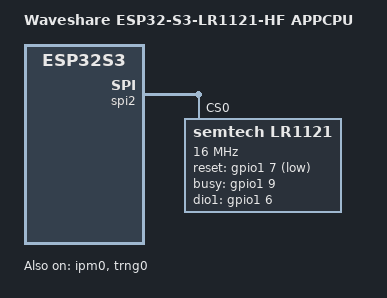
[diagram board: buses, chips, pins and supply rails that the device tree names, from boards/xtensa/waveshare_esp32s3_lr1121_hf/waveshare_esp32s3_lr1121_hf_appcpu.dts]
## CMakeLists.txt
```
cmake_minimum_required(VERSION 3.20.0)
find_package(Zephyr REQUIRED HINTS $ENV{ZEPHYR_BASE})
project(pocketadcs_ads)
target_sources(app PRIVATE src/main.cpp)
target_include_directories(app PRIVATE ${CMAKE_CURRENT_SOURCE_DIR}/../src)

# Identity of the complete application inputs (not a timestamp or git HEAD:
# uncommitted shared headers must change it too). Paths and digests are sorted
# and concatenated; build_manifest records the same inputs and final binaries.
file(GLOB_RECURSE identity_inputs CONFIGURE_DEPENDS
    RELATIVE ${CMAKE_CURRENT_SOURCE_DIR}
    "${CMAKE_CURRENT_SOURCE_DIR}/*"
    "${CMAKE_CURRENT_SOURCE_DIR}/../src/*")
list(SORT identity_inputs)
set(identity_material "")
foreach(input IN LISTS identity_inputs)
    if(NOT IS_DIRECTORY "${CMAKE_CURRENT_SOURCE_DIR}/${input}")
        file(SHA256 "${CMAKE_CURRENT_SOURCE_DIR}/${input}" input_sha)
        string(APPEND identity_material "${input}:${input_sha}\n")
    endif()
endforeach()
string(SHA256 source_digest "${identity_material}")
file(WRITE "${CMAKE_CURRENT_BINARY_DIR}/adcs_identity_inputs.txt" "${identity_material}")
file(WRITE "${CMAKE_CURRENT_BINARY_DIR}/adcs_build_id.txt" "${source_digest}\n")
target_compile_definitions(app PRIVATE ADCS_BUILD_ID="${source_digest}")
# Target, not host, stack-usage evidence retained alongside the ELF.
target_compile_options(app PRIVATE -fstack-usage)
```

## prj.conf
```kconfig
CONFIG_CONSOLE=y
CONFIG_SERIAL=y
CONFIG_UART_CONSOLE=y
CONFIG_SERIAL_ESP32_USB=y
# Match the working AIO Zephyr console configuration. This option is not a
# proven fix for host write timeouts: the ESP32 USB-Serial/JTAG driver's RX
# implementation does not use UART line-control callbacks. Host programs
# must configure DTR/RTS before opening the port to avoid a control-line pulse.
CONFIG_UART_LINE_CTRL=y
CONFIG_UART_INTERRUPT_DRIVEN=y
CONFIG_CPP=y
CONFIG_PICOLIBC_IO_FLOAT=y
# Xtensa -Os stack-usage audit: main -> references -> igrfFieldGcrs ->
# igrfFieldItrs -> legendreSchmidt needs at least 9488 bytes, before libm
# and runtime overhead. A 4096-byte main stack corrupts memory on this path.
CONFIG_MAIN_STACK_SIZE=16384
# Detect stack damage and retain high-water accounting in non-diagnostic builds.
CONFIG_INIT_STACKS=y
CONFIG_THREAD_STACK_INFO=y
CONFIG_STACK_SENTINEL=y
CONFIG_ASSERT=y
```

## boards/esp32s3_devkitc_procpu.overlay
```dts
/ {
    aliases { uart-0 = &usb_serial; };
    chosen {
        zephyr,console = &usb_serial;
        zephyr,shell-uart = &usb_serial;
    };
};
&usb_serial { status = "okay"; };
/* Waveshare ESP32-S3-LR1121-HF has 4 MB flash, not DevKitC's 8 MB. */
&flash0 { reg = <0x0 DT_SIZE_M(4)>; };
```

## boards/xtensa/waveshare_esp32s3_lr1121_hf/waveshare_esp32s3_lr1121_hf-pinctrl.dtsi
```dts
/*
 * Copyright (c) 2026 AIO PocketQube
 * SPDX-License-Identifier: Apache-2.0
 *
 * Waveshare ESP32-S3-LR1121-HF (castellated module, 4MB flash + 2MB PSRAM).
 * Verified pin mapping (Meshtastic variant.h / working firmware):
 *   LR1121 SPI2: SCK=40, MOSI=45, MISO=46, CS=42
 *   LR1121      : IRQ(DIO1)=38, RST=39, BUSY(DIO0)=41
 *   USB         : USB-Serial/JTAG via GPIO19/20 (console)
 */

#include <zephyr/dt-bindings/pinctrl/esp-pinctrl-common.h>
#include <zephyr/dt-bindings/pinctrl/esp32s3-pinctrl.h>
#include <zephyr/dt-bindings/pinctrl/esp32s3-gpio-sigmap.h>

&pinctrl {
	spim2_default: spim2_default {
		group1 {
			pinmux = <SPIM2_MISO_GPIO46>,
				 <SPIM2_SCLK_GPIO40>;
		};

		group2 {
			pinmux = <SPIM2_MOSI_GPIO45>;
			output-low;
		};
	};
};
```

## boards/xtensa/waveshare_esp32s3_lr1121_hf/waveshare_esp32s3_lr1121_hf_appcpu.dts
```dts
/*
 * Copyright (c) 2026 AIO PocketQube
 * SPDX-License-Identifier: Apache-2.0
 *
 * APPCPU variant (core 1): the autonomous COM engine.
 * Owns SPI2 + LR1121 radio pins and the IPM slave side.
 */

/dts-v1/;

#include <espressif/esp32s3/esp32s3_wroom_n4r2.dtsi>
#include <espressif/partitions_0x0_amp.dtsi>
#include "waveshare_esp32s3_lr1121_hf-pinctrl.dtsi"

/ {
	model = "Waveshare ESP32-S3-LR1121-HF APPCPU";
	compatible = "espressif,esp32s3";

	chosen {
		zephyr,sram = &sram1;
		zephyr,flash = &flash0;
		zephyr,code-partition = &slot0_appcpu_partition;
	};
};

&gpio0 {
	status = "okay";
};

&gpio1 {
	status = "okay";
};

&spi2 {
	#address-cells = <1>;
	#size-cells = <0>;
	status = "okay";
	pinctrl-0 = <&spim2_default>;
	pinctrl-names = "default";

		/* LR1121 LoRa transceiver. CS (GPIO42) is driven in software by the
		 * Zephyr HAL shim to match the proven Arduino/RadioLib reference
		 * (SPI.begin(40,46,45,42) + per-transfer CS toggle). The SPIM CSEL
		 * hardware pinmux is intentionally NOT used.
		 *
		 * ALL four control pins are on GPIO bank 1 (pins 32-53), so they must be
		 * referenced on the &gpio1 controller with bank-RELATIVE numbers
		 * (absolute pin - 32):  GPIO38->6, GPIO39->7, GPIO41->9, GPIO42->10.
		 * Referencing them on &gpio0 is wrong: the generic GPIO API masks with
		 * BIT(pin) as a uint32_t, so pin 42 wraps to bit 10 and silently drives
		 * GPIO10 instead of GPIO42. (esp_threadbr board uses the same convention.) */
		lr1121: lr1121@0 {
			compatible = "semtech,lr1121";
			reg = <0>;
			spi-max-frequency = <DT_FREQ_M(16)>;
			cs-gpios = <&gpio1 10 GPIO_ACTIVE_LOW>;    /* GPIO42 */
			reset-gpios = <&gpio1 7 GPIO_ACTIVE_LOW>;  /* GPIO39 */
			busy-gpios = <&gpio1 9 GPIO_ACTIVE_HIGH>;  /* GPIO41 */
			dio1-gpios = <&gpio1 6 GPIO_ACTIVE_HIGH>;  /* GPIO38 */
		};
};

&ipm0 {
	status = "okay";
};

&trng0 {
	status = "okay";
};
```

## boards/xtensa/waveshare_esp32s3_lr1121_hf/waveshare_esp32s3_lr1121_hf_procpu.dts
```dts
/*
 * Copyright (c) 2026 AIO PocketQube
 * SPDX-License-Identifier: Apache-2.0
 *
 * PROCPU variant (core 0): command & data handling + user interfaces.
 * USB-Serial/JTAG console, WiFi AP, IPM master.
 */

/dts-v1/;

#include <espressif/esp32s3/esp32s3_wroom_n4r2.dtsi>
#include <espressif/partitions_0x0_amp.dtsi>
#include "waveshare_esp32s3_lr1121_hf-pinctrl.dtsi"

/ {
	model = "Waveshare ESP32-S3-LR1121-HF PROCPU";
	compatible = "espressif,esp32s3";

	aliases {
		uart-0 = &usb_serial;
	};

	chosen {
		zephyr,sram = &sram1;
		zephyr,console = &usb_serial;
		zephyr,shell-uart = &usb_serial;
		zephyr,flash = &flash0;
		zephyr,code-partition = &slot0_partition;
	};
};

&usb_serial {
	status = "okay";
};

&gpio0 {
	status = "okay";
};

&gpio1 {
	status = "okay";
};

&ipm0 {
	status = "okay";
};

&trng0 {
	status = "okay";
};

&wifi {
	status = "okay";
};

/* Second espressif,esp32-wifi instance (index 1): the AP/STA net device.
 * Required by CONFIG_ESP32_WIFI_AP_STA_MODE (selected by WIFI_USAGE_MODE_STA_AP),
 * which the ESP32 WiFi driver compiles a second NET_DEVICE_DT_INST_DEFINE(1, ...) for.
 * Mirrors samples/net/wifi/apsta_mode/socs/esp32_procpu.overlay. */
/ {
	wifi_ap: wifi_ap {
		compatible = "espressif,esp32-wifi";
		status = "okay";
	};
};
```

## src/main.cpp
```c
// PocketADCS Zephyr ESP32-S3 ADS application. USB-Serial/JTAG at 115200.
//
// Two protocols share the port. Both are answered; neither is repurposed.
//
//   Legacy, stateless (unchanged):
//     S2: seq epoch_ms gyro[3] mag[3] sun[3] pos_gcrs_m[3]
//     R:  seq angle_deg rate mag_norm sun_norm flags quaternion[4] cycles[2]
//     The attitude determination happens HERE, on the flight computer. The host
//     simulates the orbit and the sensor hardware and transmits what the
//     vehicle legitimately knows about itself; it does not transmit the
//     inertial reference vectors, because supplying those would make the host
//     the ADS.
//
//   Closed loop, stateful, version 1 (the "X" family):
//     XC  kp kd max_torque accel_cap inertia max_speed     configure
//     XL / XS / XE                                          load a plan (or a
//                                                          supplied 3D profile)
//     XS2 seq epoch_ms t_s gyro[3] mag[3] sun[3] pos[3]    one control frame
//     Y   status seq has_fix q[4] ctrl_q[4] tau[3] u[3]
//         saturated stale reject cyc[4]
//     XD / XO / XGS / XH                                    diagnostics
//     XZ                                                    clear the plan
//     See esp32/src/adcs_protocol.h and docs/esp32_closed_loop.md.
//
// WHY A SEPARATE PROTOCOL: the stateless S2/R exchange already passes a
// firmware regression suite and an operator soak on COM5. Reusing its tag for
// a stateful session would make those results describe behaviour their names do
// not imply, which is how an invalidated rig stays in the lab looking
// calibrated.
//
// WHAT THE HOST MAY NOT SEND: truth attitude, truth rate, or precomputed
// reference vectors. They have no field to travel in. Commands carry gains,
// limits and a schedule -- a plan the vehicle was told to fly, not the state it
// is in.
#include <zephyr/kernel.h>
#include <zephyr/device.h>
#include <zephyr/drivers/uart.h>
#include <zephyr/devicetree.h>
#include <zephyr/sys/printk.h>
#include <zephyr/sys/atomic.h>

#include <math.h>
#include <stdio.h>
#include <stdlib.h>
#include <string.h>
#include <errno.h>
#include "ads_estimate.h"
#include "sensor_source.h"
#include "reference_provider.h"
#include "adcs_core.h"
#include "adcs_protocol.h"
#include "command_framing.h"

#define LINE_SIZE adcs::kMaxLine
// The closed-loop reply carries four quaternions, three torques and four cycle
// counts, so it needs more room than a 192-byte sensor line.
#define REPLY_SIZE 512
K_MSGQ_DEFINE(rx_lines, LINE_SIZE, 64, 4);
static const struct device *const serial = DEVICE_DT_GET(DT_CHOSEN(zephyr_console));
static char rx_line[LINE_SIZE];
static size_t rx_len;
static bool rx_overflow;
static bool rx_invalid;
// A line the RX path could not store is a DROPPED line, not a discarded one:
// counted so a run that quietly lost frames cannot report a clean verdict.
static atomic_t rx_drops;
static atomic_t rx_line_overflows;
// Committed and pending 64-segment stores belong in BSS, not the thread stack.
static adcs::Session session;

// Append only after the complete dispatch/old Y formatting span has ended.
// snprintf returns a would-be length: never use it as an unchecked offset.
// Format into a separate bounded suffix, then copy atomically after all checks.
static bool append_service_cycles(char *reply, size_t capacity, int32_t written,
                                  uint32_t cycles) {
    if (written <= 0 || static_cast<size_t>(written) >= capacity) return false;
    const size_t used = static_cast<size_t>(written);
    if (reply[used] != '\0') return false;
    char suffix[12];  // space + UINT32_MAX decimal + NUL
    const int n = snprintf(suffix, sizeof(suffix), " %u", static_cast<unsigned>(cycles));
    if (n <= 0 || static_cast<size_t>(n) >= sizeof(suffix) ||
        static_cast<size_t>(n) >= capacity - used) return false;
    memcpy(reply + used, suffix, static_cast<size_t>(n) + 1);
    return true;
}

static void send_line(const char *s) {
    while (*s) uart_poll_out(serial, (unsigned char)*s++);
}

// Cycle counts from the last frame, so the host can compute real on-device
// execution times. -1 when no frame has been processed yet (the idle
// heartbeat, which is not a measurement).
static int32_t g_cyc_eph = -1;
static int32_t g_cyc_ads = -1;

// Cycle counts for the closed-loop stages. This is the Xtensa hardware cycle
// counter (CCOUNT) through Zephyr's k_cycle_get_32, not a CPU-frequency
// setting: claiming a clock that was never verified is how a timing claim goes
// wrong by a factor of the core clock.
static uint32_t host_cycles() { return k_cycle_get_32(); }

// The onboard ephemeris wrapped as the protocol's reference seam. This is what
// turns position + clock into the inertial reference vectors, which is the part
// that must not be done on the host.
static EphemerisReferenceProvider g_ephemeris;

static bool onboard_references(const adcs::Session &, int64_t epoch_ms, const double pos[3],
                               adcs::AbsoluteUpdate *out) {
    // EphemerisReferenceProvider::references writes the reference vectors into
    // a SensorSample and ORs its own flags in, so the flags -- not the vector
    // contents -- are the authority on whether a reference was produced. A
    // failed model leaves the vectors undefined, and a TRIAD fix built on them
    // would be a confident wrong answer.
    SensorSample derived = {};
    derived.epoch_ms = epoch_ms;
    for (int i = 0; i < 3; ++i) derived.pos_gcrs_m[i] = pos[i];
    derived.flags = 0;
    if (!g_ephemeris.references(epoch_ms, derived.pos_gcrs_m, derived)) return false;
    for (int i = 0; i < 3; ++i) {
        out->sun_ref[i] = derived.ref_sun_unit[i];
        out->magnetic_ref[i] = derived.ref_mag_unit[i];
    }
    return true;
}

static void emit(int seq, const AdsFrameResult &r, unsigned flags,
                uint32_t eph_cycles, uint32_t ads_cycles) {
    char out[224];
    g_cyc_eph = (int32_t)eph_cycles;
    g_cyc_ads = (int32_t)ads_cycles;
    int n = snprintf(out, sizeof(out),
        "R %d %.6f %.6f %.6e %.4f %u %.6f %.6f %.6f %.6f %d %d\n",
        seq, r.angle_deg, r.rate, r.mag_norm, r.sun_norm, flags,
        r.q[0], r.q[1], r.q[2], r.q[3], g_cyc_eph, g_cyc_ads);
    if (n > 0 && n < (int)sizeof(out)) send_line(out);
}

static void error_reply() {
    const AdsFrameResult empty = {0, 0, 0, 0, {1, 0, 0, 0}, 0};
    g_cyc_eph = -1;
    g_cyc_ads = -1;
    emit(-1, empty, 4, 0, 0);
}

// Stack headroom of the main thread, so stack exhaustion is observable rather
// than inferred from a crash. Requires CONFIG_INIT_STACKS and
// CONFIG_THREAD_STACK_INFO, both of which prj.conf keeps enabled.
static int32_t main_stack_headroom(void) {
#if defined(CONFIG_INIT_STACKS) && defined(CONFIG_THREAD_STACK_INFO)
    size_t unused = 0;
    if (k_thread_stack_space_get(k_current_get(), &unused) != 0) return -1;
    return (int32_t)unused;
#else
    return -1;
#endif
}

static void uart_rx_isr(const struct device *dev, void *) {
    // Short by construction: bytes in, bytes out, no floating math, no control
    // law, no blocking. All of that happens on the main thread.
    while (uart_irq_update(dev) && uart_irq_rx_ready(dev)) {
        unsigned char chunk[64];
        int count = uart_fifo_read(dev, chunk, sizeof(chunk));
        for (int i = 0; i < count; ++i) {
            char c = adcs::commandTextByte(chunk[i]);
            if (c == '\n') {
                // CRLF/trailing CR must not change exact diagnostics (XI).
                // Trim only the tail; internal CR separators remain spaces.
                while (rx_len && (rx_line[rx_len - 1] == ' ' ||
                                  rx_line[rx_len - 1] == '\t')) --rx_len;
                if (rx_overflow || rx_invalid) {
                    // Consume/refuse the whole malformed line once. Never let
                    // binary payload truncate an XZ into a destructive reset.
                    static const char invalid[LINE_SIZE] = "!";
                    if (k_msgq_put(&rx_lines, invalid, K_NO_WAIT) != 0) atomic_inc(&rx_drops);
                    if (rx_overflow) atomic_inc(&rx_line_overflows);
                } else if (rx_len) {
                    rx_line[rx_len] = '\0';
                    // Queue full is DETECTED, not silently discarded: a line that
                    // vanishes here would show up as a missing seq on the host
                    // and read as a firmware that skipped a measurement.
                    if (k_msgq_put(&rx_lines, rx_line, K_NO_WAIT) != 0) atomic_inc(&rx_drops);
                }
                rx_len = 0;
                rx_overflow = false;
                rx_invalid = false;
            } else if (!adcs::commandByteValid(chunk[i])) {
                rx_invalid = true;
            } else if (rx_invalid) {
                // Drain to LF without storing or dispatching any suffix.
                continue;
            } else if (rx_len < sizeof(rx_line) - 1 && !rx_overflow) {
                rx_line[rx_len++] = c;
            } else {
                rx_overflow = true;
            }
        }
    }
}

int main() {
    if (!device_is_ready(serial)) return -1;
    if (uart_irq_callback_user_data_set(serial, uart_rx_isr, nullptr) != 0) return -2;
    uart_irq_rx_enable(serial);

    // The one line that chooses where readings come from. Swapping in real
    // I2C/ADC drivers is a change here and nowhere else.
    HilStreamSource source;

    session.reset(&host_cycles, main_stack_headroom());
    adcs::CallContext context;
    context.session = &session;
    context.references = &onboard_references;

    send_line("ADS Zephyr ADS firmware up (onboard ephemeris, closed-loop v1)\n");

    int64_t last_rx = k_uptime_get();
    char line[LINE_SIZE];
    char reply[REPLY_SIZE];
    for (;;) {
        if (k_msgq_get(&rx_lines, line, K_MSEC(100)) == 0) {
            // Full queued-command service starts AFTER dequeue, before health
            // sampling, routing, parsing and all closed-loop work. ISR framing
            // and queue wait are excluded. Unsigned subtraction permits one
            // CCOUNT wrap; the interval must be shorter than 2^32 cycles.
            const uint32_t service_start = k_cycle_get_32();
            last_rx = k_uptime_get();
            session.stack_headroom_bytes = main_stack_headroom();
            session.rx_drops = (uint32_t)atomic_get(&rx_drops);
            session.rx_overflows = (uint32_t)atomic_get(&rx_line_overflows);
            session.uptime_ms = (uint32_t)last_rx;

            if (line[0] == 'S' && line[1] == '2') {
                // --- legacy stateless path, unchanged ---------------------
                SensorSample sample;
                if (!source.parse(line, sample)) {
                    error_reply();
                    continue;
                }
                // Reference-vector generation and TRIAD are timed separately
                // on core 0. Parsing and USB transport are outside these
                // intervals.
                uint32_t t0 = k_cycle_get_32();

                // Derive the reference vectors onboard, from the vehicle's own
                // position and time. The flags are only set if this succeeds.
                g_ephemeris.references(sample.epoch_ms, sample.pos_gcrs_m, sample);
                uint32_t t1 = k_cycle_get_32();

                AdsFrameResult result;
                unsigned flags;
                estimateSample(sample, result, flags);
                uint32_t t2 = k_cycle_get_32();

                emit((int)sample.seq, result, flags, t1 - t0, t2 - t1);
                continue;
            }

            // Machine-readable identity is explicit, not an unsolicited line
            // that could masquerade as the ACK to a control command.
            if (strcmp(line, "XI") == 0) {
                snprintf(reply, sizeof(reply), "I 1 %s %u %d %d\n", ADCS_BUILD_ID,
                         (unsigned)sys_clock_hw_cycles_per_sec(),
                         adcs::kMaxLine, adcs::kMaxSegments);
                send_line(reply);
                continue;
            }
            // Device health is measured here. Host diagnostic setters remain
            // available in the portable protocol tests but cannot forge the
            // hardware counters or boot clock on the target.
            if (strncmp(line, "XD ", 3) == 0 || strncmp(line, "XO ", 3) == 0 ||
                strncmp(line, "XGS ", 4) == 0) {
                adcs::formatRefusal(session, "HEALTH", adcs::kErrBadArgument,
                                    -1, reply, sizeof(reply));
                send_line(reply);
                send_line("\n");
                continue;
            }

            // --- closed-loop stateful path -------------------------------
            const int32_t written = adcs::handleLine(&context, line, reply, REPLY_SIZE);
            // Includes original reply formatting; excludes metric append,
            // newline formatting, TX and subsequent idle/heartbeat work.
            const uint32_t service_cycles = k_cycle_get_32() - service_start;
            const bool is_frame = written > 0 && reply[0] == 'Y' && reply[1] == ' ';
            if (written > 0 && (!is_frame ||
                append_service_cycles(reply, sizeof(reply), written, service_cycles))) {
                send_line(reply);
                send_line("\n");
            } else {
                // A reply that would not fit is dropped rather than truncated:
                // a partial line parses as a different, valid-looking frame.
                send_line("E SHORT 4 -1 0\n");
            }
        }

        if (k_uptime_get() - last_rx >= 3000) {
            // Same 12-field shape as a real reply so the host parser never has
            // to special-case the heartbeat; -1 marks "no measurement".
            send_line("R -2 0 0 0 0 8 1 0 0 0 -1 -1\n");
            last_rx = k_uptime_get();
        }
    }
    return 0;
}
```
